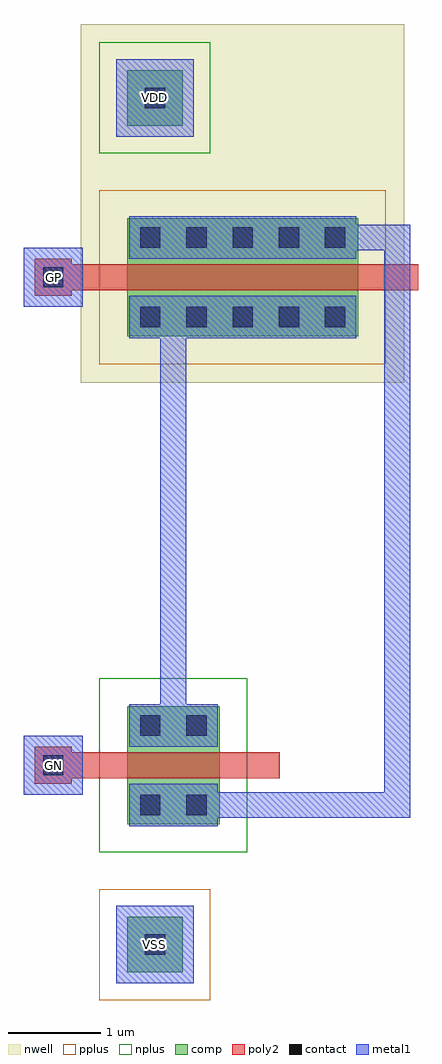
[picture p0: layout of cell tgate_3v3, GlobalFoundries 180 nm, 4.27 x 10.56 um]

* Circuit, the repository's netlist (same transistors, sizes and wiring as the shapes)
* Extracted by KLayout with GF180MCU LVS runset on : 08/09/2026 23:36

.SUBCKT tgate_3v3 GN GP VDD VSS
M$1 \$4 GP \$3 VDD pfet_03v3 L=0.28U W=2.5U AS=1.25P AD=1.25P PS=6U PD=6U
M$2 \$3 GN \$4 VSS nfet_03v3 L=0.28U W=1U AS=0.5P AD=0.5P PS=3U PD=3U
.ENDS tgate_3v3

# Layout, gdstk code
import gdstk
lib = gdstk.Library(unit=1e-6, precision=1e-09)
def R(c, l, rs):  # rectangles x0, y0, x1, y1
    for r in rs: c.add(gdstk.rectangle(r[:2], r[2:], *l))
def A(c, l, x, y, w, h, nx, ny, dx, dy):  # array of equal rectangles
    R(c, l, [(x+i*dx, y+j*dy, x+i*dx+w, y+j*dy+h) for i in range(nx) for j in range(ny)])
nwell = (21, 0)
comp = (22, 0)
poly2 = (30, 0)
pplus = (31, 0)
nplus = (32, 0)
contact = (33, 0)
metal1 = (34, 0)

tgate_3v3 = lib.new_cell('tgate_3v3')
R(tgate_3v3, nwell, [(-0.5,4.78,3,8.66)])
R(tgate_3v3, comp, [(0,-1.6,0.6,-1), (0,0,1,1.28), (0,5.28,2.5,6.56), (0,7.56,0.6,8.16)])
R(tgate_3v3, poly2, [(-1,0.44,-0.6,0.84), (-0.65,0.5,1.65,0.78), (-1,5.72,-0.6,6.12), (-0.65,5.78,3.15,6.06)])
R(tgate_3v3, pplus, [(-0.3,-1.9,0.9,-0.7), (-0.3,4.98,2.8,6.86)])
R(tgate_3v3, nplus, [(-0.3,-0.3,1.3,1.58), (-0.3,7.26,0.9,8.46)])
A(tgate_3v3, contact, 0.14, 5.38, 0.22, 0.22, 5, 2, 0.5, 0.86)
R(tgate_3v3, contact, [(0.19,-1.41,0.41,-1.19), (0.14,0.1,0.36,0.32), (0.64,0.1,0.86,0.32), (-0.91,0.53,-0.69,0.75), (0.14,0.96,0.36,1.18), (0.64,0.96,0.86,1.18), (-0.91,5.81,-0.69,6.03), (0.19,7.75,0.41,7.97)])
R(tgate_3v3, metal1, [(-0.12,-1.72,0.72,-0.88), (0.02,-0.02,0.98,0.44), (0.98,0.07,3.06,0.35), (2.78,0.07,3.06,6.49), (-1.12,0.32,-0.48,0.96), (0.02,0.84,0.98,1.3), (0.36,1.3,0.64,5.26), (0.02,5.26,2.48,5.72), (-1.12,5.6,-0.48,6.24), (0.02,6.12,2.48,6.58), (2.48,6.21,3.06,6.49), (-0.12,7.44,0.72,8.28)])
tgate_3v3.add(gdstk.Label('GN', (-0.8,0.64), layer=34, texttype=10))
tgate_3v3.add(gdstk.Label('GP', (-0.8,5.92), layer=34, texttype=10))
tgate_3v3.add(gdstk.Label('VDD', (0.3,7.86), layer=34, texttype=10))
tgate_3v3.add(gdstk.Label('VSS', (0.3,-1.3), layer=34, texttype=10))

lib.write_gds('tgate_3v3.gds')
